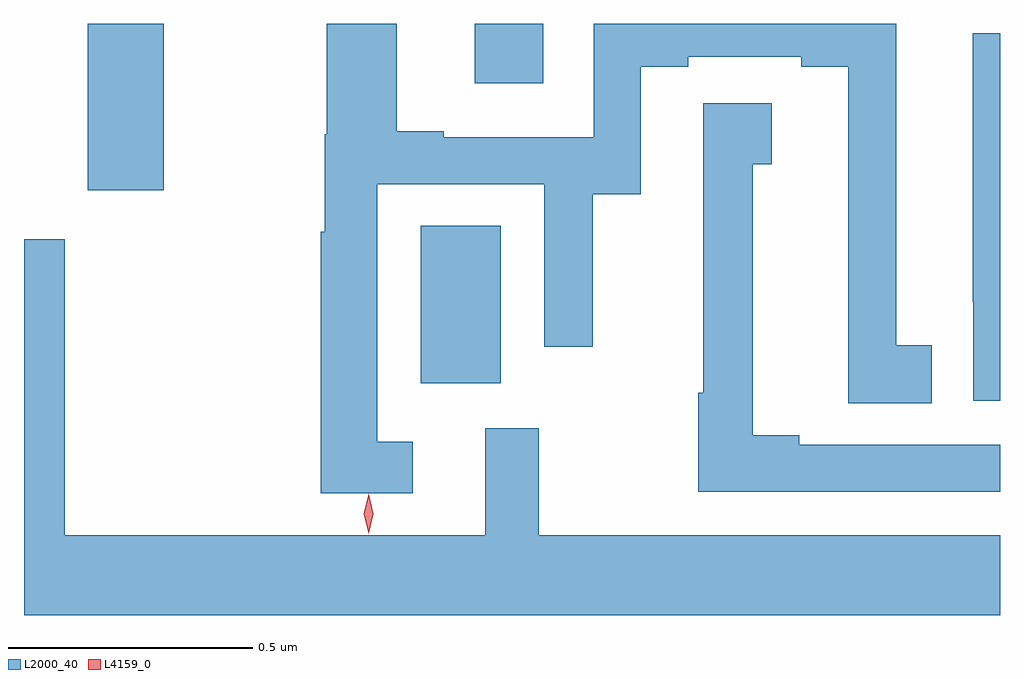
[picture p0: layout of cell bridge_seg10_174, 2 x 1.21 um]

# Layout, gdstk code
import gdstk
lib = gdstk.Library(unit=1e-6, precision=1e-09)
def R(c, l, rs):  # rectangles x0, y0, x1, y1
    for r in rs: c.add(gdstk.rectangle(r[:2], r[2:], *l))
def P(c, l, *ps):  # polygons
    for p in ps: c.add(gdstk.Polygon(p, *l))
L2000_40 = (2000, 40)
L4159_0 = (4159, 0)

bridge_seg10_174 = lib.new_cell('bridge_seg10_174')
R(bridge_seg10_174, L2000_40, [(226.592,1251.507,226.756,1251.83), (225.91,1251.903,226.065,1252.244), (226.703,1252.122,226.843,1252.244)])
P(bridge_seg10_174, L2000_40, [(226.576,1251.387),(226.503,1251.387),(226.503,1251.915),(226.845,1251.915),(226.845,1251.582),(226.944,1251.582),(226.944,1251.895),(227.043,1251.895),(227.043,1252.156),(227.14,1252.156),(227.14,1252.176),(227.372,1252.176),(227.372,1252.156),(227.468,1252.156),(227.468,1251.466),(227.639,1251.466),(227.639,1251.585),(227.566,1251.585),(227.566,1252.244),(226.947,1252.244),(226.947,1252.011),(226.639,1252.011),(226.639,1252.024),(226.543,1252.024),(226.543,1252.244),(226.399,1252.244),(226.399,1252.018),(226.395,1252.018),(226.395,1251.818),(226.387,1251.818),(226.387,1251.282),(226.576,1251.282)],
  [(227.779,1252.225),(227.723,1252.225),(227.723,1251.674),(227.724,1251.674),(227.724,1251.471),(227.779,1251.471)],
  [(227.779,1251.381),(227.368,1251.381),(227.368,1251.401),(227.272,1251.401),(227.272,1251.956),(227.311,1251.956),(227.311,1252.081),(227.171,1252.081),(227.171,1251.488),(227.161,1251.488),(227.161,1251.285),(227.779,1251.285)],
  [(227.779,1251.196),(226.834,1251.196),(226.834,1251.415),(226.724,1251.415),(226.724,1251.196),(225.862,1251.196),(225.862,1251.802),(225.779,1251.802),(225.779,1251.032),(227.779,1251.032)])
P(bridge_seg10_174, L4159_0, [(226.485,1251.199),(226.485,1251.2),(226.475,1251.24),(226.485,1251.28),(226.485,1251.281),(226.485,1251.28),(226.495,1251.24),(226.485,1251.2)])

lib.write_gds('bridge_seg10_174.gds')
